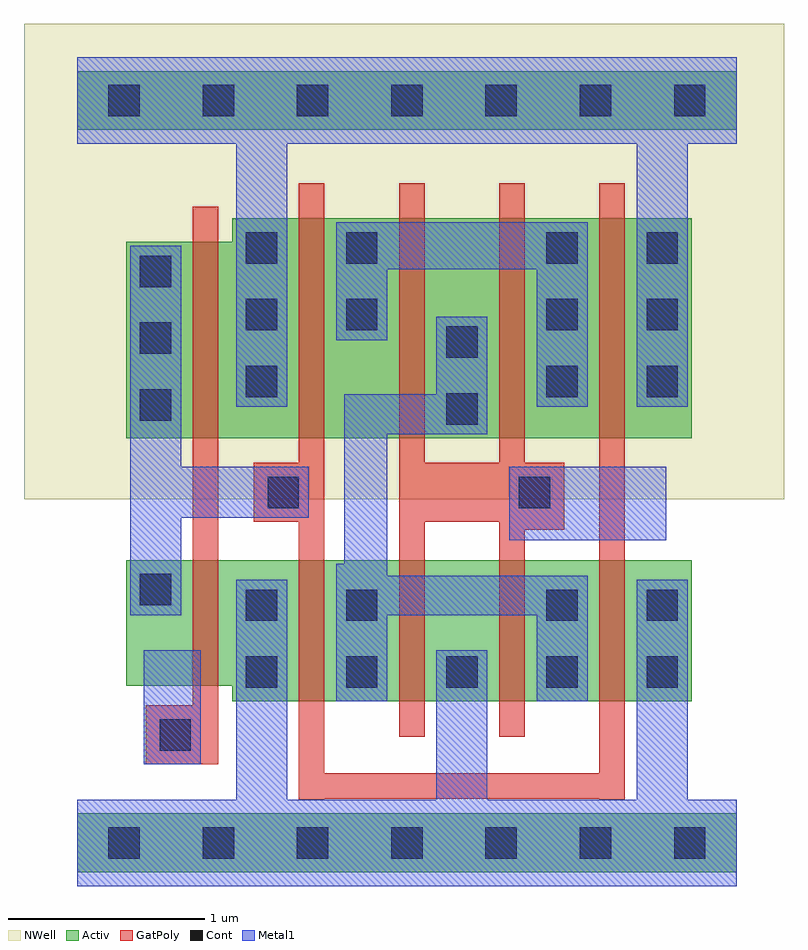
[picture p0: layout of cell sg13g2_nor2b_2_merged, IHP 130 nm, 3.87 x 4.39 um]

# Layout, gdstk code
import gdstk
lib = gdstk.Library(unit=1e-6, precision=1e-09)
def R(c, l, rs):  # rectangles x0, y0, x1, y1
    for r in rs: c.add(gdstk.rectangle(r[:2], r[2:], *l))
def A(c, l, x, y, w, h, nx, ny, dx, dy):  # array of equal rectangles
    R(c, l, [(x+i*dx, y+j*dy, x+i*dx+w, y+j*dy+h) for i in range(nx) for j in range(ny)])
def P(c, l, *ps):  # polygons
    for p in ps: c.add(gdstk.Polygon(p, *l))
Activ = (1, 0)
GatPoly = (5, 0)
Cont = (6, 0)
Metal1 = (8, 0)
NWell = (31, 0)

sg13g2_nor2b_2_merged = lib.new_cell('sg13g2_nor2b_2_merged')
R(sg13g2_nor2b_2_merged, Activ, [(0,-0.15,3.36,0.15), (0,3.63,3.36,3.93)])
P(sg13g2_nor2b_2_merged, Activ, [(0.79,0.72),(0.79,0.8),(0.25,0.8),(0.25,1.44),(3.13,1.44),(3.13,0.72)],
  [(0.25,2.06),(0.25,3.06),(0.79,3.06),(0.79,3.18),(3.13,3.18),(3.13,2.06)])
P(sg13g2_nor2b_2_merged, GatPoly, [(0.35,0.4),(0.35,0.7),(0.59,0.7),(0.59,3.24),(0.72,3.24),(0.72,0.4)],
  [(1.64,0.54),(1.64,3.36),(1.77,3.36),(1.77,1.935),(2.15,1.935),(2.15,3.36),(2.28,3.36),(2.28,1.935),(2.48,1.935),(2.48,1.595),(2.28,1.595),(2.28,0.54),(2.15,0.54),(2.15,1.635),(1.77,1.635),(1.77,0.54)],
  [(1.13,0.22),(1.13,1.635),(0.9,1.635),(0.9,1.935),(1.13,1.935),(1.13,3.36),(1.26,3.36),(1.26,0.355),(2.66,0.355),(2.66,3.36),(2.79,3.36),(2.79,0.22),(2.66,0.22),(2.66,0.225),(1.26,0.225),(1.26,0.22)])
A(sg13g2_nor2b_2_merged, Cont, 0.16, -0.08, 0.16, 0.16, 7, 2, 0.48, 3.78)
A(sg13g2_nor2b_2_merged, Cont, 0.86, 0.79, 0.16, 0.16, 5, 1, 0.51, 0)
A(sg13g2_nor2b_2_merged, Cont, 0.32, 2.15, 0.16, 0.16, 1, 3, 0, 0.34)
A(sg13g2_nor2b_2_merged, Cont, 0.86, 2.27, 0.16, 0.16, 1, 3, 0, 0.34)
A(sg13g2_nor2b_2_merged, Cont, 2.39, 2.27, 0.16, 0.16, 1, 3, 0, 0.34)
A(sg13g2_nor2b_2_merged, Cont, 2.9, 2.27, 0.16, 0.16, 1, 3, 0, 0.34)
R(sg13g2_nor2b_2_merged, Cont, [(0.42,0.47,0.58,0.63), (0.86,1.13,1.02,1.29), (1.37,1.13,1.53,1.29), (2.39,1.13,2.55,1.29), (2.9,1.13,3.06,1.29), (0.32,1.21,0.48,1.37), (0.97,1.705,1.13,1.865), (2.25,1.705,2.41,1.865), (1.88,2.13,2.04,2.29), (1.88,2.47,2.04,2.63), (1.37,2.61,1.53,2.77), (1.37,2.95,1.53,3.11)])
R(sg13g2_nor2b_2_merged, Metal1, [(0.34,0.4,0.63,0.98), (2.2,1.54,3,1.915)])
P(sg13g2_nor2b_2_merged, Metal1, [(0,-0.22),(0,0.22),(0.81,0.22),(0.81,1.34),(1.07,1.34),(1.07,0.22),(1.83,0.22),(1.83,0.98),(2.09,0.98),(2.09,0.22),(2.85,0.22),(2.85,1.34),(3.11,1.34),(3.11,0.22),(3.36,0.22),(3.36,-0.22)],
  [(1.32,0.72),(1.32,1.42),(1.36,1.42),(1.36,2.285),(1.83,2.285),(1.83,2.68),(2.09,2.68),(2.09,2.08),(1.58,2.08),(1.58,1.36),(2.6,1.36),(2.6,0.72),(2.34,0.72),(2.34,1.16),(1.58,1.16),(1.58,0.72)],
  [(0.27,1.16),(0.27,3.04),(0.53,3.04),(0.53,1.915),(1.18,1.915),(1.18,1.655),(0.53,1.655),(0.53,1.16)],
  [(2.34,2.22),(2.34,2.92),(1.58,2.92),(1.58,2.56),(1.32,2.56),(1.32,3.16),(2.6,3.16),(2.6,2.22)],
  [(0.81,2.22),(0.81,3.56),(0,3.56),(0,4),(3.36,4),(3.36,3.56),(3.11,3.56),(3.11,2.22),(2.85,2.22),(2.85,3.56),(1.07,3.56),(1.07,2.22)])
R(sg13g2_nor2b_2_merged, NWell, [(-0.27,1.75,3.6,4.17)])

lib.write_gds('sg13g2_nor2b_2_merged.gds')
